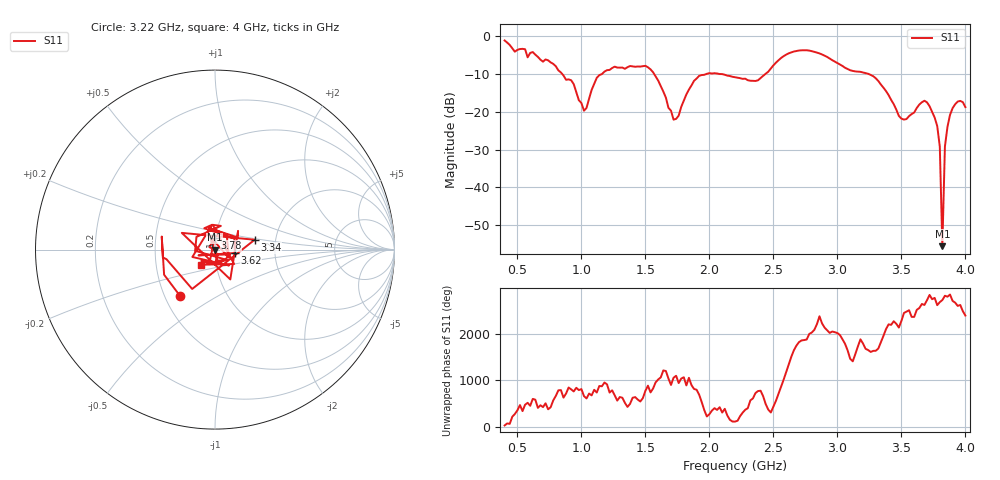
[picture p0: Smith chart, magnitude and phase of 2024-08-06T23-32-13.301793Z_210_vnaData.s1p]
!Created with skrf (http://scikit-rf.org).
# Hz S RI R 50.0
!freq ReS11 ImS11
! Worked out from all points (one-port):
!   181 points, 400 MHz to 4 GHz, reference 50 ohm
!   lowest |S11| = -55.5 dB at 3.82 GHz (marker M1), VSWR 1.00, Z = 49.8 - j0.0603 ohm
!   |S11| at or under -10 dB: 1.567 GHz to 1.981 GHz (413.9 MHz wide, 23.3 % of centre); 2.071 GHz to 2.439 GHz (368.4 MHz wide, 16.3 % of centre); 3.24 GHz to end of sweep (the widest 3 of 4)
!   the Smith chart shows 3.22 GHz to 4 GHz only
!   S11 on the Smith chart (normalised r, x): 3.22 GHz: 0.60, -0.35; 3.34 GHz: 1.55, +0.18; 3.62 GHz: 1.25, -0.05; 3.78 GHz: 0.99, +0.13; 4 GHz: 0.84, -0.14
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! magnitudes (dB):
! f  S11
! 400 MHz  -1.2
! 860 MHz  -10.4
! 940 MHz  -12.7
! 1.02 GHz  -19.8
! 1.12 GHz  -11.1
! 1.3 GHz  -8.4
! 1.54 GHz  -8.8
! 1.72 GHz  -22.1
! 1.76 GHz  -21.0
! 1.92 GHz  -10.5
! 2.2 GHz  -10.9
! 2.38 GHz  -11.7
! 2.66 GHz  -4.1
! 2.86 GHz  -4.6
! 3.1 GHz  -9.1
! 3.22 GHz  -9.8
! 3.34 GHz  -12.8
! 3.48 GHz  -21.1
! 3.56 GHz  -21.2
! 3.62 GHz  -19.0
! 3.7 GHz  -17.5
! 3.78 GHz  -23.8
! 3.8 GHz  -29.2
! 3.82 GHz  -55.5
! 3.84 GHz  -29.2
! 3.86 GHz  -24.0
! 3.92 GHz  -18.0
! 4 GHz  -18.8
